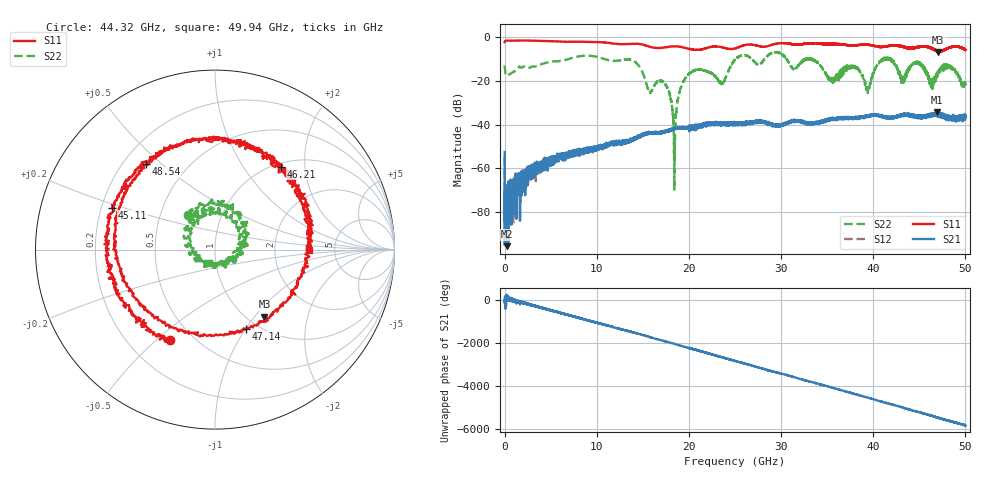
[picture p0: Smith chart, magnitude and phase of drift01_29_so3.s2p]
!Created with skrf (http://scikit-rf.org).
# Hz S RI R 50.0
!freq ReS11 ImS11 ReS21 ImS21 ReS12 ImS12 ReS22 ImS22
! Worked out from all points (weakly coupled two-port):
!   10001 points, 300 kHz to 50 GHz, reference 50 ohm
!   highest |S21| = -34.33 dB at 46.91 GHz (marker M1); lowest = -95.9 dB at 210.3 MHz (marker M2)
!   lowest |S11| = -6.7 dB at 47.03 GHz (marker M3), VSWR 2.74, Z = 59 - j56.3 ohm
!   |S11| at or under -10 dB: nowhere
!   |S22| runs from -69.9 to -6.6 dB; largest |S21 - S12| = 0.0034
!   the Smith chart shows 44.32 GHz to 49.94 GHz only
!   S11 on the Smith chart (normalised r, x): 44.32 GHz: 0.38, -0.56; 45.11 GHz: 0.25, +0.18; 46.21 GHz: 1.06, +1.50; 47.14 GHz: 0.88, -1.00; 48.54 GHz: 0.29, +0.44; 49.94 GHz: 3.21, -0.04
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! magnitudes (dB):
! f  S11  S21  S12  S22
! 300 kHz  -2.1  -52.6  -55.0  -12.8
! 210.3 MHz  -1.4  -95.9  -73.0  -17.5
! 8.335 GHz  -1.9  -51.7  -53.2  -8.5
! 16.67 GHz  -4.8  -44.0  -43.5  -19.9
! 17.74 GHz  -4.3  -42.8  -42.9  -24.0
! 18.44 GHz  -4.0  -42.1  -41.9  -52.9
! 19.9 GHz  -5.1  -41.6  -41.3  -17.2
! 23.6 GHz  -4.5  -39.3  -39.7  -20.7
! 25 GHz  -5.0  -39.0  -39.4  -10.4
! 33.34 GHz  -2.6  -39.3  -39.2  -9.9
! 39.46 GHz  -3.3  -36.1  -36.2  -23.2
! 41.67 GHz  -3.9  -36.7  -36.6  -10.1
! 43.17 GHz  -4.3  -35.7  -35.6  -18.9
! 44.32 GHz  -5.0  -35.9  -36.2  -12.2
! 45.11 GHz  -4.2  -36.4  -36.0  -12.1
! 46.21 GHz  -4.6  -35.9  -35.4  -19.8
! 46.91 GHz  -6.1  -34.3  -35.0  -17.8
! 47.03 GHz  -6.7  -35.1  -35.2  -15.5
! 47.14 GHz  -6.5  -35.5  -35.2  -16.0
! 48.54 GHz  -4.3  -38.1  -36.7  -13.8
! 49.94 GHz  -5.6  -37.1  -36.1  -21.2
! 50 GHz  -5.7  -35.9  -35.8  -21.9
